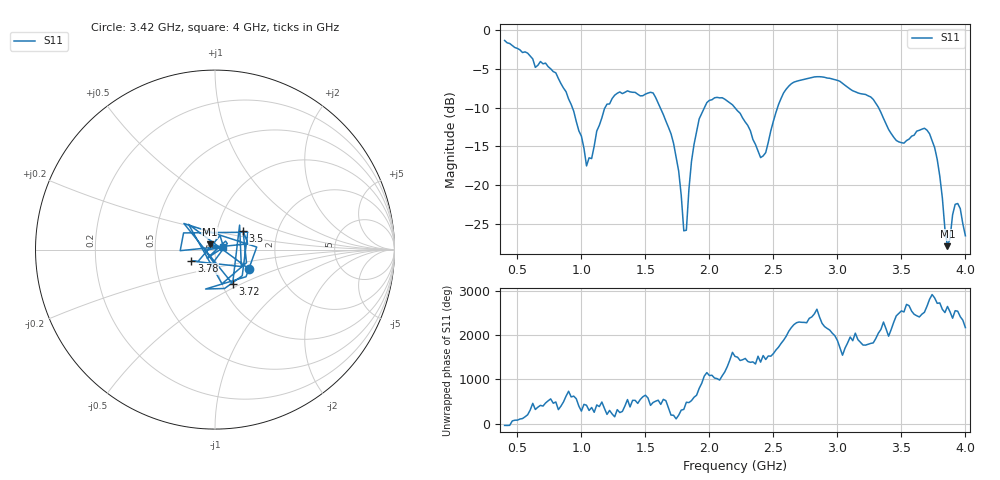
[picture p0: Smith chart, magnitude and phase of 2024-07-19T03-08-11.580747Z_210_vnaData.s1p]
!Created with skrf (http://scikit-rf.org).
# Hz S RI R 50.0
!freq ReS11 ImS11
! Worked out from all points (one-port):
!   181 points, 400 MHz to 4 GHz, reference 50 ohm
!   lowest |S11| = -27.8 dB at 3.86 GHz (marker M1), VSWR 1.08, Z = 47.1 + j2.72 ohm
!   |S11| at or under -10 dB: 1.616 GHz to 1.961 GHz (345.6 MHz wide, 19.3 % of centre); 2.198 GHz to 2.532 GHz (333.8 MHz wide, 14.1 % of centre); 3.321 GHz to end of sweep (the widest 3 of 4)
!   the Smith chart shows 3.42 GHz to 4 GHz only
!   S11 on the Smith chart (normalised r, x): 3.42 GHz: 1.42, -0.32; 3.5 GHz: 1.33, +0.29; 3.72 GHz: 1.12, -0.45; 3.78 GHz: 0.76, -0.10; 4 GHz: 1.10, +0.03
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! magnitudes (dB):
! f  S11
! 400 MHz  -1.4
! 860 MHz  -7.5
! 1 GHz  -13.7
! 1.04 GHz  -17.5
! 1.18 GHz  -10.1
! 1.3 GHz  -8.0
! 1.56 GHz  -8.1
! 1.7 GHz  -13.4
! 1.76 GHz  -18.2
! 1.8 GHz  -25.9
! 1.82 GHz  -25.8
! 1.86 GHz  -16.9
! 1.92 GHz  -11.5
! 2.04 GHz  -8.7
! 2.2 GHz  -10.0
! 2.4 GHz  -16.4
! 2.56 GHz  -8.8
! 2.66 GHz  -6.7
! 3.1 GHz  -7.6
! 3.28 GHz  -8.9
! 3.42 GHz  -13.3
! 3.5 GHz  -14.5
! 3.56 GHz  -14.1
! 3.72 GHz  -13.4
! 3.78 GHz  -16.7
! 3.86 GHz  -27.8
! 3.92 GHz  -22.5
! 4 GHz  -26.5
